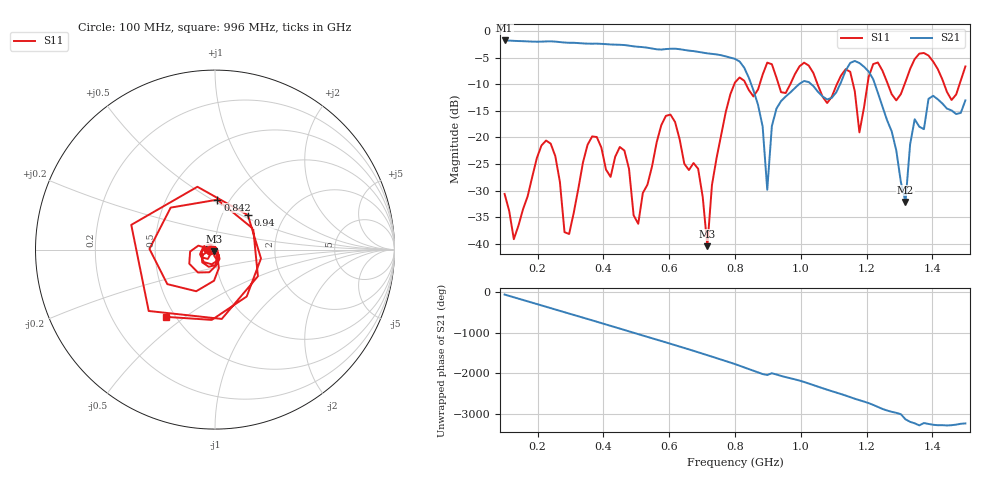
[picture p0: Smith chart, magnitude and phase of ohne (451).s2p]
! NanoVNA-App
! Date: 2025-09-25 14:24:18
! Start: 100MHz Stop: 1,5GHz Points: 101
! S-Parameter data: F S11 S21 S12 S22
# Hz S RI R 50
!  Frequency  S11_Real  S11_Imag  S21_Real  S21_Imag  S12_Real  S12_Imag  S22_Real  S22_Imag
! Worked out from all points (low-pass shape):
!   101 points, 100 MHz to 1.5 GHz, reference 50 ohm
!   highest |S21| = -1.79 dB at 100 MHz (marker M1); lowest = -32.1 dB at 1.318 GHz (marker M2)
!   |S21| within 3 dB of the highest: start of sweep to 771.9 MHz
!   lowest |S11| = -40.5 dB at 716 MHz (marker M3), VSWR 1.02, Z = 49.7 - j0.9 ohm
!   |S11| at or under -10 dB: start of sweep to 798 MHz; 833.1 MHz to 875.1 MHz (41.96 MHz wide, 4.91 % of centre); 1.051 GHz to 1.11 GHz (59.06 MHz wide, 5.47 % of centre) (the widest 3 of 7)
!   S12 and S22 are empty: the file has one direction only
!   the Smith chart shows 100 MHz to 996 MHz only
!   S11 on the Smith chart (normalised r, x): 100 MHz: 0.94, -0.01; 842 MHz: 0.88, +0.53; 940 MHz: 1.32, +0.55; 996 MHz: 0.44, -0.42
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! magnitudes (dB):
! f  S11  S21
! 100 MHz  -30.6  -1.8
! 128 MHz  -39.1  -1.9
! 226 MHz  -20.6  -2.0
! 296 MHz  -38.2  -2.2
! 338 MHz  -24.7  -2.3
! 464 MHz  -22.5  -2.7
! 506 MHz  -36.3  -3.0
! 576 MHz  -17.7  -3.5
! 688 MHz  -25.9  -3.9
! 716 MHz  -40.5  -4.2
! 800 MHz  -9.7  -5.3
! 842 MHz  -11.1  -8.8
! 898 MHz  -6.0  -29.9
! 940 MHz  -11.5  -13.2
! 996 MHz  -6.7  -9.9
! 1.038 GHz  -7.9  -10.4
! 1.178 GHz  -19.1  -6.0
! 1.22 GHz  -6.2  -9.1
! 1.276 GHz  -11.9  -18.9
! 1.318 GHz  -9.6  -32.1
! 1.346 GHz  -5.3  -16.6
! 1.5 GHz  -6.7  -13.1
